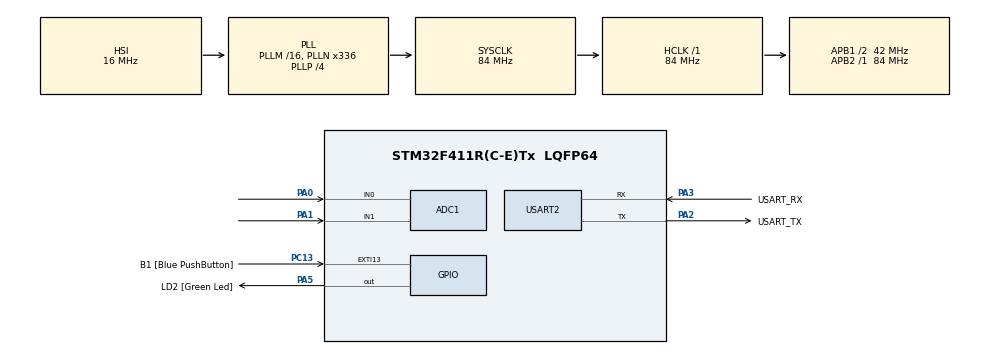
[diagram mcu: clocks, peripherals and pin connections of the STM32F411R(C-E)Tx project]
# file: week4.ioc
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ADC1.Channel-0\#ChannelRegularConversion=ADC_CHANNEL_0
ADC1.Channel-1\#ChannelRegularConversion=ADC_CHANNEL_1
ADC1.Channel-2\#ChannelRegularConversion=ADC_CHANNEL_TEMPSENSOR
ADC1.Channel-3\#ChannelRegularConversion=ADC_CHANNEL_VREFINT
ADC1.ContinuousConvMode=ENABLE
ADC1.DMAContinuousRequests=ENABLE
ADC1.NbrOfConversion=4
ADC1.NbrOfConversionFlag=1
ADC1.Rank-0\#ChannelRegularConversion=1
ADC1.Rank-1\#ChannelRegularConversion=2
ADC1.Rank-2\#ChannelRegularConversion=3
ADC1.Rank-3\#ChannelRegularConversion=4
ADC1.SamplingTime-0\#ChannelRegularConversion=ADC_SAMPLETIME_3CYCLES
ADC1.SamplingTime-1\#ChannelRegularConversion=ADC_SAMPLETIME_3CYCLES
ADC1.SamplingTime-2\#ChannelRegularConversion=ADC_SAMPLETIME_3CYCLES
ADC1.SamplingTime-3\#ChannelRegularConversion=ADC_SAMPLETIME_3CYCLES
ADC1.ScanConvMode=ENABLE
ADC1.master=1
Dma.ADC1.0.Direction=DMA_PERIPH_TO_MEMORY
Dma.ADC1.0.FIFOMode=DMA_FIFOMODE_DISABLE
Dma.ADC1.0.Instance=DMA2_Stream0
Dma.ADC1.0.MemDataAlignment=DMA_MDATAALIGN_WORD
Dma.ADC1.0.MemInc=DMA_MINC_ENABLE
Dma.ADC1.0.Mode=DMA_CIRCULAR
Dma.ADC1.0.PeriphDataAlignment=DMA_PDATAALIGN_WORD
Dma.ADC1.0.PeriphInc=DMA_PINC_DISABLE
Dma.ADC1.0.Priority=DMA_PRIORITY_LOW
Dma.Request0=ADC1
Mcu.Family=STM32F4
Mcu.Name=STM32F411R(C-E)Tx
Mcu.Package=LQFP64
NVIC.DMA2_Stream0_IRQn=true\:0\:0\:false\:false\:true\:false\:true
NVIC.EXTI15_10_IRQn=true\:0\:0\:false\:false\:true\:true\:true
NVIC.PriorityGroup=NVIC_PRIORITYGROUP_0
PA0-WKUP.Signal=ADCx_IN0
PA1.Signal=ADCx_IN1
PA13.GPIO_Label=TMS
PA13.Mode=Serial_Wire
PA13.Signal=SYS_JTMS-SWDIO
PA14.GPIO_Label=TCK
PA14.Mode=Serial_Wire
PA14.Signal=SYS_JTCK-SWCLK
PA2.GPIO_Label=USART_TX
PA2.Mode=Asynchronous
PA2.Signal=USART2_TX
PA3.GPIO_Label=USART_RX
PA3.Mode=Asynchronous
PA3.Signal=USART2_RX
PA5.GPIO_Label=LD2 [Green Led]
PA5.Signal=GPIO_Output
PB3.GPIO_Label=SWO
PB3.Signal=SYS_JTDO-SWO
PC13-ANTI_TAMP.GPIO_Label=B1 [Blue PushButton]
PC13-ANTI_TAMP.GPIO_ModeDefaultEXTI=GPIO_MODE_IT_RISING_FALLING
PC13-ANTI_TAMP.GPIO_PuPd=GPIO_PULLUP
PC13-ANTI_TAMP.Signal=GPXTI13
PC14-OSC32_IN.Mode=LSE-External-Oscillator
PC14-OSC32_IN.Signal=RCC_OSC32_IN
PC15-OSC32_OUT.Mode=LSE-External-Oscillator
PC15-OSC32_OUT.Signal=RCC_OSC32_OUT
PH0\ -\ OSC_IN.Mode=HSE-External-Clock-Source
PH0\ -\ OSC_IN.Signal=RCC_OSC_IN
PH1\ -\ OSC_OUT.Mode=HSE-External-Clock-Source
PH1\ -\ OSC_OUT.Signal=RCC_OSC_OUT
ProjectManager.HeapSize=0x200
ProjectManager.StackSize=0x400
ProjectManager.TargetToolchain=STM32CubeIDE
RCC.48MHZClocksFreq_Value=84000000
RCC.AHBFreq_Value=84000000
RCC.APB1CLKDivider=RCC_HCLK_DIV2
RCC.APB1Freq_Value=42000000
RCC.APB1TimFreq_Value=84000000
RCC.APB2Freq_Value=84000000
RCC.APB2TimFreq_Value=84000000
RCC.CortexFreq_Value=84000000
RCC.FLatency-AdvancedSettings=FLASH_LATENCY_2
RCC.HCLKFreq_Value=84000000
RCC.HSE_VALUE=8000000
RCC.HSI_VALUE=16000000
RCC.PLLN=336
RCC.PLLP=RCC_PLLP_DIV4
RCC.SYSCLKFreq_VALUE=84000000
RCC.SYSCLKSource=RCC_SYSCLKSOURCE_PLLCLK
RCC.VCOOutputFreq_Value=336000000
SH.ADCx_IN0.0=ADC1_IN0,IN0
SH.ADCx_IN1.0=ADC1_IN1,IN1
USART2.VirtualMode=VM_ASYNC
VP_ADC1_TempSens_Input.Mode=IN-TempSens
VP_ADC1_Vref_Input.Mode=IN-Vrefint
board=NUCLEO-F411RE

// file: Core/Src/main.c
/* USER CODE BEGIN Header */
/**
 ******************************************************************************
 * @file           : main.c
 * @brief          : Main program body
 ******************************************************************************
 * @attention
 *
 * <h2><center>&copy; Copyright (c) 2021 STMicroelectronics.
 * All rights reserved.</center></h2>
 *
 * This software component is licensed by ST under BSD 3-Clause license,
 * the "License"; You may not use this file except in compliance with the
 * License. You may obtain a copy of the License at:
 *                        opensource.org/licenses/BSD-3-Clause
 *
 ******************************************************************************
 */
/* USER CODE END Header */
#include "main.h"

ADC_HandleTypeDef hadc1;
DMA_HandleTypeDef hdma_adc1;

UART_HandleTypeDef huart2;

/* USER CODE BEGIN PV */
uint32_t ADCData[4] = { 0 };
uint32_t TimeStamp = 0;
int TimeStamp2 = 0;
int timewait = 0;
int timestart = 0;
int timeend = 0;
int mode = 0;
int ans = 0;

/* USER CODE END PV */

void SystemClock_Config(void);
static void MX_GPIO_Init(void);
static void MX_DMA_Init(void);
static void MX_USART2_UART_Init(void);
static void MX_ADC1_Init(void);

int main(void) {

	/* MCU Configuration--------------------------------------------------------*/

	/* Reset of all peripherals, Initializes the Flash interface and the Systick. */
	HAL_Init();

	/* Configure the system clock */
	SystemClock_Config();

	/* Initialize all configured peripherals */
	MX_GPIO_Init();
	MX_DMA_Init();
	MX_USART2_UART_Init();
	MX_ADC1_Init();
	/* USER CODE BEGIN 2 */
	HAL_ADC_Start_DMA(&hadc1, ADCData, 4); // ADCData = &ADCData[0]
	/* USER CODE END 2 */

	/* Infinite loop */
	while (1) {

		/* USER CODE BEGIN 3 */
		if (mode == 1) {
			if ((HAL_GetTick() - TimeStamp2) >= timewait) //millisecond now time
					{
				HAL_GPIO_TogglePin(LD2_GPIO_Port, LD2_Pin);
				TimeStamp2 = HAL_GetTick();
				mode = 2;
			}
		}
		/* USER CODE END 3 */
	}
}

void SystemClock_Config(void) {
	RCC_OscInitTypeDef RCC_OscInitStruct = { 0 };
	RCC_ClkInitTypeDef RCC_ClkInitStruct = { 0 };

	/** Configure the main internal regulator output voltage
	 */
	__HAL_RCC_PWR_CLK_ENABLE();
	__HAL_PWR_VOLTAGESCALING_CONFIG(PWR_REGULATOR_VOLTAGE_SCALE1);
	/** Initializes the RCC Oscillators according to the specified parameters
	 * in the RCC_OscInitTypeDef structure.
	 */
	RCC_OscInitStruct.OscillatorType = RCC_OSCILLATORTYPE_HSI;
	RCC_OscInitStruct.HSIState = RCC_HSI_ON;
	RCC_OscInitStruct.HSICalibrationValue = RCC_HSICALIBRATION_DEFAULT;
	RCC_OscInitStruct.PLL.PLLState = RCC_PLL_ON;
	RCC_OscInitStruct.PLL.PLLSource = RCC_PLLSOURCE_HSI;
	RCC_OscInitStruct.PLL.PLLM = 16;
	RCC_OscInitStruct.PLL.PLLN = 336;
	RCC_OscInitStruct.PLL.PLLP = RCC_PLLP_DIV4;
	RCC_OscInitStruct.PLL.PLLQ = 4;
	if (HAL_RCC_OscConfig(&RCC_OscInitStruct) != HAL_OK) {
		Error_Handler();
	}
	/** Initializes the CPU, AHB and APB buses clocks
	 */
	RCC_ClkInitStruct.ClockType = RCC_CLOCKTYPE_HCLK | RCC_CLOCKTYPE_SYSCLK
			| RCC_CLOCKTYPE_PCLK1 | RCC_CLOCKTYPE_PCLK2;
	RCC_ClkInitStruct.SYSCLKSource = RCC_SYSCLKSOURCE_PLLCLK;
	RCC_ClkInitStruct.AHBCLKDivider = RCC_SYSCLK_DIV1;
	RCC_ClkInitStruct.APB1CLKDivider = RCC_HCLK_DIV2;
	RCC_ClkInitStruct.APB2CLKDivider = RCC_HCLK_DIV1;

	if (HAL_RCC_ClockConfig(&RCC_ClkInitStruct, FLASH_LATENCY_2) != HAL_OK) {
		Error_Handler();
	}
}

static void MX_ADC1_Init(void) {

	ADC_ChannelConfTypeDef sConfig = { 0 };

	/** Configure the global features of the ADC (Clock, Resolution, Data Alignment and number of conversion)
	 */
	hadc1.Instance = ADC1;
	hadc1.Init.ClockPrescaler = ADC_CLOCK_SYNC_PCLK_DIV4;
	hadc1.Init.Resolution = ADC_RESOLUTION_12B;
	hadc1.Init.ScanConvMode = ENABLE;
	hadc1.Init.ContinuousConvMode = ENABLE;
	hadc1.Init.DiscontinuousConvMode = DISABLE;
	hadc1.Init.ExternalTrigConvEdge = ADC_EXTERNALTRIGCONVEDGE_NONE;
	hadc1.Init.ExternalTrigConv = ADC_SOFTWARE_START;
	hadc1.Init.DataAlign = ADC_DATAALIGN_RIGHT;
	hadc1.Init.NbrOfConversion = 4;
	hadc1.Init.DMAContinuousRequests = ENABLE;
	hadc1.Init.EOCSelection = ADC_EOC_SINGLE_CONV;
	if (HAL_ADC_Init(&hadc1) != HAL_OK) {
		Error_Handler();
	}
	/** Configure for the selected ADC regular channel its corresponding rank in the sequencer and its sample time.
	 */
	sConfig.Channel = ADC_CHANNEL_0;
	sConfig.Rank = 1;
	sConfig.SamplingTime = ADC_SAMPLETIME_480CYCLES;
	if (HAL_ADC_ConfigChannel(&hadc1, &sConfig) != HAL_OK) {
		Error_Handler();
	}
	/** Configure for the selected ADC regular channel its corresponding rank in the sequencer and its sample time.
	 */
	sConfig.Channel = ADC_CHANNEL_1;
	sConfig.Rank = 2;
	if (HAL_ADC_ConfigChannel(&hadc1, &sConfig) != HAL_OK) {
		Error_Handler();
	}
	/** Configure for the selected ADC regular channel its corresponding rank in the sequencer and its sample time.
	 */
	sConfig.Channel = ADC_CHANNEL_TEMPSENSOR;
	sConfig.Rank = 3;
	if (HAL_ADC_ConfigChannel(&hadc1, &sConfig) != HAL_OK) {
		Error_Handler();
	}
	/** Configure for the selected ADC regular channel its corresponding rank in the sequencer and its sample time.
	 */
	sConfig.Channel = ADC_CHANNEL_VREFINT;
	sConfig.Rank = 4;
	if (HAL_ADC_ConfigChannel(&hadc1, &sConfig) != HAL_OK) {
		Error_Handler();
	}

}

static void MX_USART2_UART_Init(void) {

	huart2.Instance = USART2;
	huart2.Init.BaudRate = 115200;
	huart2.Init.WordLength = UART_WORDLENGTH_8B;
	huart2.Init.StopBits = UART_STOPBITS_1;
	huart2.Init.Parity = UART_PARITY_NONE;
	huart2.Init.Mode = UART_MODE_TX_RX;
	huart2.Init.HwFlowCtl = UART_HWCONTROL_NONE;
	huart2.Init.OverSampling = UART_OVERSAMPLING_16;
	if (HAL_UART_Init(&huart2) != HAL_OK) {
		Error_Handler();
	}

}

static void MX_DMA_Init(void) {

	/* DMA controller clock enable */
	__HAL_RCC_DMA2_CLK_ENABLE();

	/* DMA interrupt init */
	/* DMA2_Stream0_IRQn interrupt configuration */
	HAL_NVIC_SetPriority(DMA2_Stream0_IRQn, 0, 0);
	HAL_NVIC_EnableIRQ(DMA2_Stream0_IRQn);

}

static void MX_GPIO_Init(void) {
	GPIO_InitTypeDef GPIO_InitStruct = { 0 };

	/* GPIO Ports Clock Enable */
	__HAL_RCC_GPIOC_CLK_ENABLE();
	__HAL_RCC_GPIOH_CLK_ENABLE();
	__HAL_RCC_GPIOA_CLK_ENABLE();
	__HAL_RCC_GPIOB_CLK_ENABLE();

	/*Configure GPIO pin Output Level */
	HAL_GPIO_WritePin(LD2_GPIO_Port, LD2_Pin, GPIO_PIN_SET);

	/*Configure GPIO pin : B1_Pin */
	GPIO_InitStruct.Pin = B1_Pin;
	GPIO_InitStruct.Mode = GPIO_MODE_IT_RISING_FALLING;
	GPIO_InitStruct.Pull = GPIO_PULLUP;
	HAL_GPIO_Init(B1_GPIO_Port, &GPIO_InitStruct);

	/*Configure GPIO pin : LD2_Pin */
	GPIO_InitStruct.Pin = LD2_Pin;
	GPIO_InitStruct.Mode = GPIO_MODE_OUTPUT_PP;
	GPIO_InitStruct.Pull = GPIO_NOPULL;
	GPIO_InitStruct.Speed = GPIO_SPEED_FREQ_LOW;
	HAL_GPIO_Init(LD2_GPIO_Port, &GPIO_InitStruct);

	/* EXTI interrupt init*/
	HAL_NVIC_SetPriority(EXTI15_10_IRQn, 0, 0);
	HAL_NVIC_EnableIRQ(EXTI15_10_IRQn);

}
/* USER CODE BEGIN 4 */

void HAL_GPIO_EXTI_Callback(uint16_t GPIO_Pin) {
	if (GPIO_Pin == GPIO_PIN_13) {
		if (HAL_GetTick() - TimeStamp >= 100) //ms
				{
			TimeStamp = HAL_GetTick();

			if (mode == 0) {
				HAL_GPIO_TogglePin(LD2_GPIO_Port, LD2_Pin);
				timewait = (1000
						+ ((22695477 * ADCData[0]) + ADCData[1]) % 10000);
			}

			if (mode == 2) {
				ans = HAL_GetTick() - TimeStamp2;
				mode = 0;
			} else if (mode == 1) {
				mode = 0;
				HAL_GPIO_TogglePin(LD2_GPIO_Port, LD2_Pin);
			} else {
				mode = 1;
			}
		}
	}
}

/* USER CODE END 4 */

void Error_Handler(void) {
	__disable_irq();
	while (1) {
	}
}

#ifdef  USE_FULL_ASSERT
	/**
	  * @brief  Reports the name of the source file and the source line number
	  *         where the assert_param error has occurred.
	  * @param  file: pointer to the source file name
	  * @param  line: assert_param error line source number
	  * @retval None
	  */
	void assert_failed(uint8_t *file, uint32_t line)
	{
	}
	#endif /* USE_FULL_ASSERT */

/************************ (C) COPYRIGHT STMicroelectronics *****END OF FILE****/
